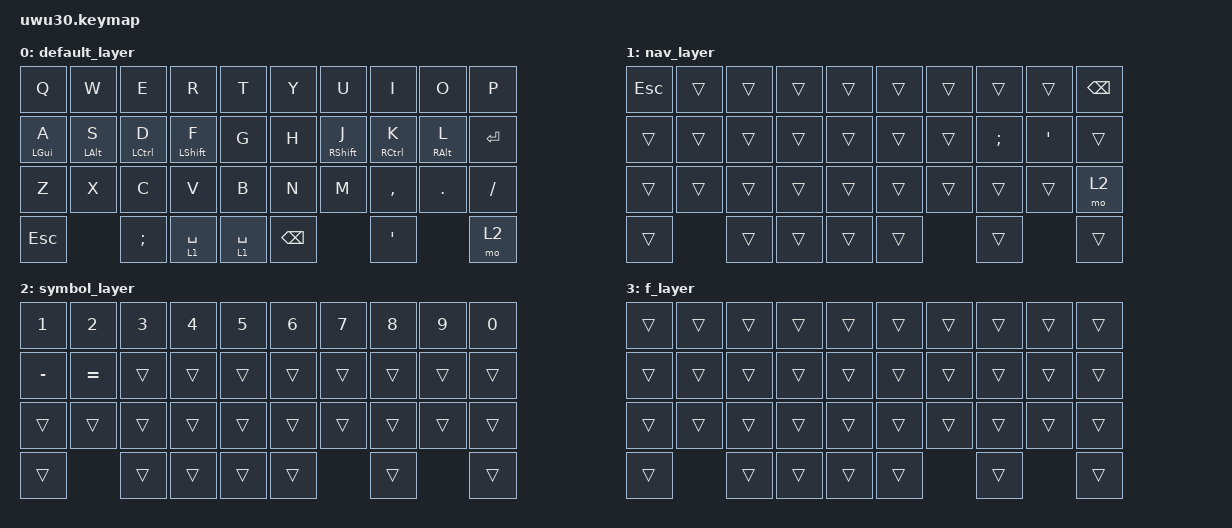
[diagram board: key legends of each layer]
/*
 * Copyright (c) 2023 The ZMK Contributors
 *
 * SPDX-License-Identifier: MIT
 */

#include <behaviors.dtsi>
#include <dt-bindings/zmk/keys.h>
#include <dt-bindings/zmk/bt.h>
#include <dt-bindings/zmk/outputs.h>

/ {
    combos {
        compatible = "zmk,combos";

        combo_mo1 {
            timeout-ms = <100>;
            key-positions = <1 2>;
            bindings = <&mo 1>;
        };

        combo_mo2 {
            timeout-ms = <100>;
            key-positions = <28 29>;
            bindings = <&mo 2>;
        };
    };
};

&mt {
    tapping-term-ms = <400>;
};

/ {
    keymap {
        compatible = "zmk,keymap";

        default_layer {
            bindings = <
    &kp Q           &kp W           &kp E           &kp R           &kp T           &kp Y           &kp U           &kp I           &kp O           &kp P
    &mt LGUI A      &mt LALT S      &mt LCTRL D     &mt LSHFT F     &kp G           &kp H           &mt RSHFT J     &mt RCTRL K     &mt RALT L      &kp ENTER
    &kp Z           &kp X           &kp C           &kp V           &kp B           &kp N           &kp M           &kp COMMA       &kp DOT         &kp SLASH
    &kp ESC                         &kp SEMI        &lt 1 SPACE     &lt 1 SPACE     &kp BSPC                        &kp SQT                         &mo 2

            >;
        };

        nav_layer {
            bindings = <
    &kp ESC         &trans          &trans          &trans          &trans          &trans          &trans          &trans          &trans          &kp BSPC
    &trans          &trans          &trans          &trans          &trans          &trans          &trans          &kp SEMI        &kp SQT         &trans
    &trans          &trans          &trans          &trans          &trans          &trans          &trans          &trans          &trans          &mo 2
    &trans                          &trans          &trans          &trans          &trans                          &trans                          &trans
            >;
        };

        symbol_layer {
            bindings = <
    &kp N1          &kp N2          &kp N3          &kp N4          &kp N5          &kp N6          &kp N7          &kp N8          &kp N9          &kp N0
    &kp MINUS       &kp EQUAL       &trans          &trans          &trans          &trans          &trans          &trans          &trans          &trans
    &trans          &trans          &trans          &trans          &trans          &trans          &trans          &trans          &trans          &trans
    &trans                          &trans          &trans          &trans          &trans                          &trans                          &trans
            >;
        };

        f_layer {
            bindings = <
    &trans          &trans          &trans          &trans          &trans          &trans          &trans          &trans          &trans          &trans
    &trans          &trans          &trans          &trans          &trans          &trans          &trans          &trans          &trans          &trans
    &trans          &trans          &trans          &trans          &trans          &trans          &trans          &trans          &trans          &trans
    &trans                          &trans          &trans          &trans          &trans                          &trans                          &trans
            >;
        };
    };
};
